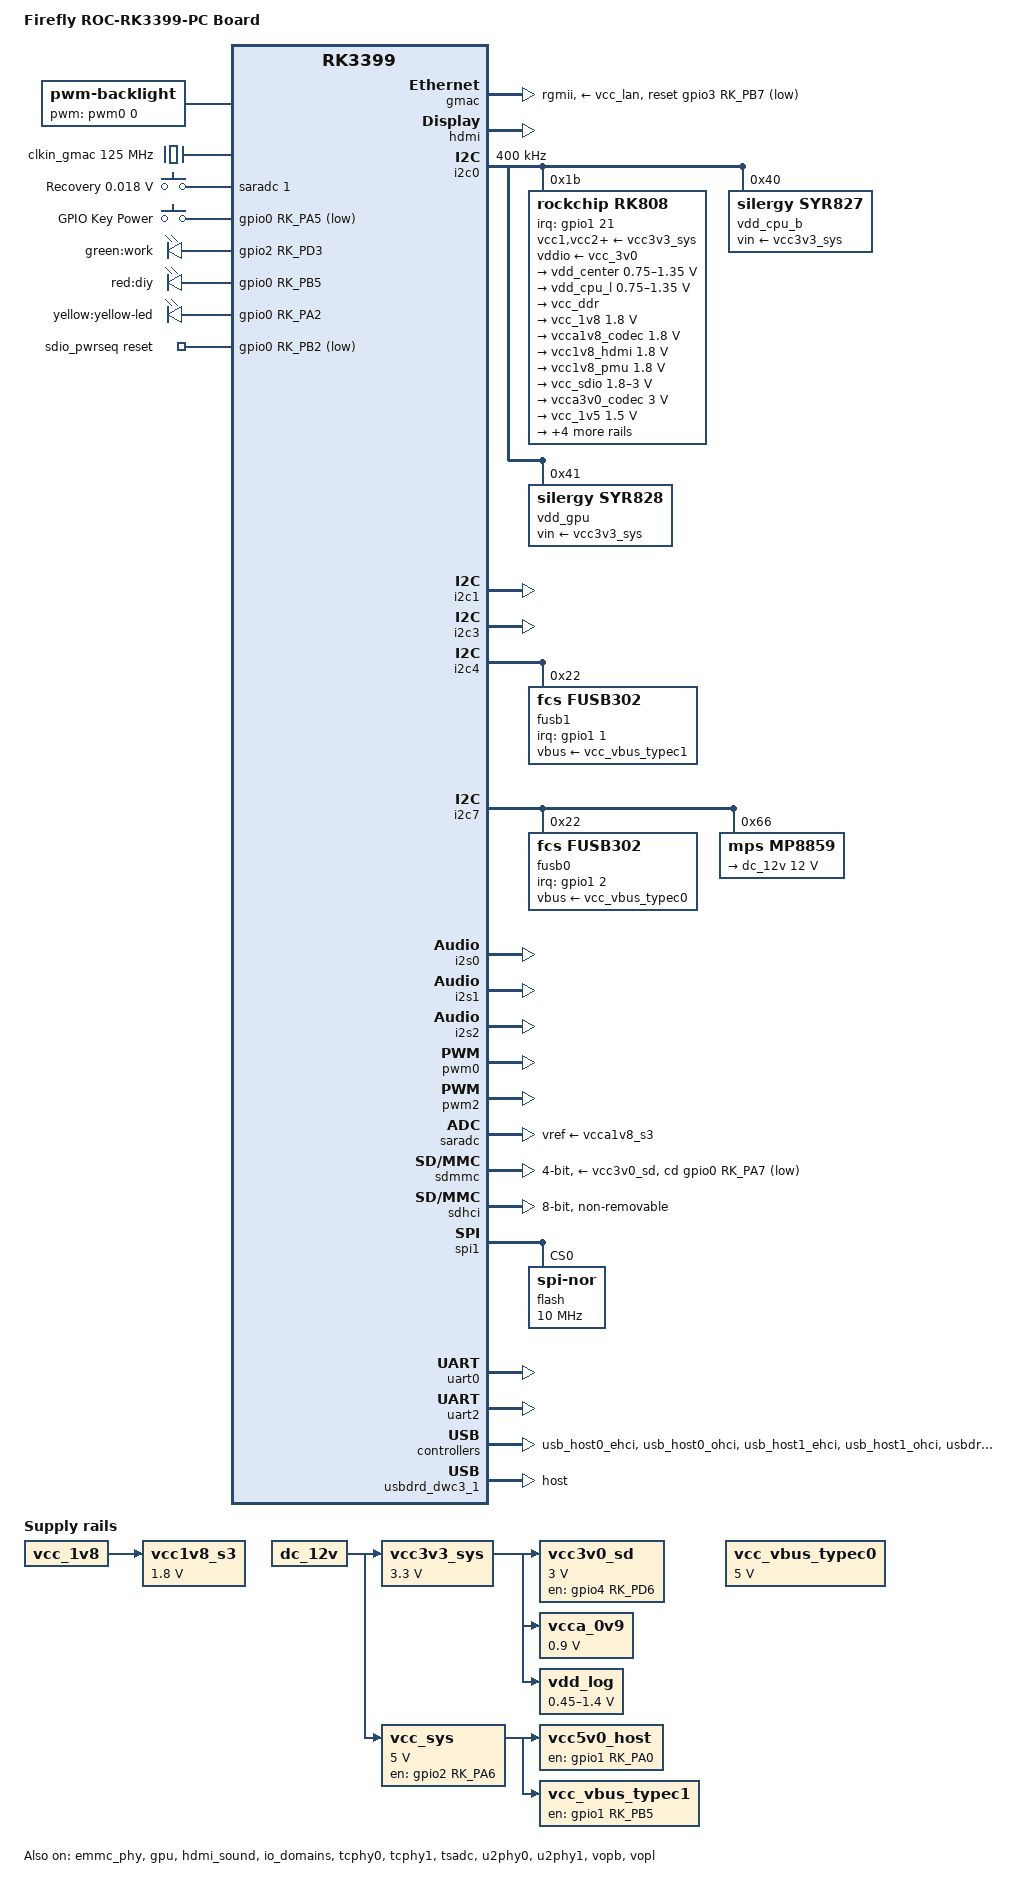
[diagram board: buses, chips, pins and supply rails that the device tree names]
// SPDX-License-Identifier: (GPL-2.0+ OR MIT)
/*
 * Copyright (c) 2017 T-Chip Intelligent Technology Co., Ltd
 */

/dts-v1/;
#include <dt-bindings/input/linux-event-codes.h>
#include <dt-bindings/pwm/pwm.h>
#include "rk3399.dtsi"
#include "rk3399-opp.dtsi"

/ {
	model = "Firefly ROC-RK3399-PC Board";
	compatible = "firefly,roc-rk3399-pc", "rockchip,rk3399";

	chosen {
		stdout-path = "serial2:1500000n8";
	};

	backlight: backlight {
		compatible = "pwm-backlight";
		pwms = <&pwm0 0 25000 0>;
	};

	clkin_gmac: external-gmac-clock {
		compatible = "fixed-clock";
		clock-frequency = <125000000>;
		clock-output-names = "clkin_gmac";
		#clock-cells = <0>;
	};

	adc-keys {
		compatible = "adc-keys";
		io-channels = <&saradc 1>;
		io-channel-names = "buttons";
		keyup-threshold-microvolt = <1500000>;
		poll-interval = <100>;

		recovery {
			label = "Recovery";
			linux,code = <KEY_VENDOR>;
			press-threshold-microvolt = <18000>;
		};
	};

	gpio-keys {
		compatible = "gpio-keys";
		autorepeat;
		pinctrl-names = "default";
		pinctrl-0 = <&pwr_key_l>;

		power {
			debounce-interval = <100>;
			gpios = <&gpio0 RK_PA5 GPIO_ACTIVE_LOW>;
			label = "GPIO Key Power";
			linux,code = <KEY_POWER>;
			wakeup-source;
		};
	};

	leds {
		compatible = "gpio-leds";
		pinctrl-names = "default";
		pinctrl-0 = <&work_led_pin>, <&diy_led_pin>, <&yellow_led_pin>;

		work_led: led-0 {
			label = "green:work";
			gpios = <&gpio2 RK_PD3 GPIO_ACTIVE_HIGH>;
			default-state = "on";
			linux,default-trigger = "heartbeat";
		};

		diy_led: led-1 {
			label = "red:diy";
			gpios = <&gpio0 RK_PB5 GPIO_ACTIVE_HIGH>;
			default-state = "off";
			linux,default-trigger = "mmc1";
		};

		yellow_led: led-2 {
			label = "yellow:yellow-led";
			gpios = <&gpio0 RK_PA2 GPIO_ACTIVE_HIGH>;
			default-state = "off";
			linux,default-trigger = "mmc0";
		};
	};

	sdio_pwrseq: sdio-pwrseq {
		compatible = "mmc-pwrseq-simple";
		clocks = <&rk808 1>;
		clock-names = "ext_clock";
		pinctrl-names = "default";
		pinctrl-0 = <&wifi_enable_h>;

		/*
		 * On the module itself this is one of these (depending
		 * on the actual card populated):
		 * - SDIO_RESET_L_WL_REG_ON
		 * - PDN (power down when low)
		 */
		reset-gpios = <&gpio0 RK_PB2 GPIO_ACTIVE_LOW>;
	};

	vcc_vbus_typec0: vcc-vbus-typec0 {
		compatible = "regulator-fixed";
		regulator-name = "vcc_vbus_typec0";
		regulator-always-on;
		regulator-boot-on;
		regulator-min-microvolt = <5000000>;
		regulator-max-microvolt = <5000000>;
	};

	/* switched by pmic_sleep */
	vcc1v8_s3: vcca1v8_s3: vcc1v8-s3 {
		compatible = "regulator-fixed";
		regulator-name = "vcc1v8_s3";
		regulator-always-on;
		regulator-boot-on;
		regulator-min-microvolt = <1800000>;
		regulator-max-microvolt = <1800000>;
		vin-supply = <&vcc_1v8>;
	};

	vcc3v0_sd: vcc3v0-sd {
		compatible = "regulator-fixed";
		enable-active-high;
		gpio = <&gpio4 RK_PD6 GPIO_ACTIVE_HIGH>;
		pinctrl-names = "default";
		pinctrl-0 = <&vcc3v0_sd_en>;
		regulator-name = "vcc3v0_sd";
		regulator-boot-on;
		regulator-min-microvolt = <3000000>;
		regulator-max-microvolt = <3000000>;
		vin-supply = <&vcc3v3_sys>;
	};

	vcc3v3_sys: vcc3v3-sys {
		compatible = "regulator-fixed";
		regulator-name = "vcc3v3_sys";
		regulator-always-on;
		regulator-boot-on;
		regulator-min-microvolt = <3300000>;
		regulator-max-microvolt = <3300000>;
		vin-supply = <&dc_12v>;
	};

	vcca_0v9: vcca-0v9 {
		compatible = "regulator-fixed";
		regulator-name = "vcca_0v9";
		regulator-always-on;
		regulator-boot-on;
		regulator-min-microvolt = <900000>;
		regulator-max-microvolt = <900000>;
		vin-supply = <&vcc3v3_sys>;
	};

	/* Actually 3 regulators (host0, 1, 2) controlled by the same gpio */
	vcc5v0_host: vcc5v0-host-regulator {
		compatible = "regulator-fixed";
		enable-active-high;
		gpio = <&gpio1 RK_PA0 GPIO_ACTIVE_HIGH>;
		pinctrl-names = "default";
		pinctrl-0 = <&vcc5v0_host_en &hub_rst>;
		regulator-name = "vcc5v0_host";
		vin-supply = <&vcc_sys>;
	};

	vcc_vbus_typec1: vcc-vbus-typec1 {
		compatible = "regulator-fixed";
		enable-active-high;
		gpio = <&gpio1 RK_PB5 GPIO_ACTIVE_HIGH>;
		pinctrl-names = "default";
		pinctrl-0 = <&vcc_vbus_typec1_en>;
		regulator-name = "vcc_vbus_typec1";
		regulator-always-on;
		vin-supply = <&vcc_sys>;
	};

	vcc_sys: vcc-sys {
		compatible = "regulator-fixed";
		enable-active-high;
		gpio = <&gpio2 RK_PA6 GPIO_ACTIVE_HIGH>;
		pinctrl-names = "default";
		pinctrl-0 = <&vcc_sys_en>;
		regulator-name = "vcc_sys";
		regulator-boot-on;
		regulator-min-microvolt = <5000000>;
		regulator-max-microvolt = <5000000>;
		vin-supply = <&dc_12v>;
	};

	vdd_log: vdd-log {
		compatible = "pwm-regulator";
		pwms = <&pwm2 0 25000 1>;
		regulator-name = "vdd_log";
		regulator-always-on;
		regulator-boot-on;
		regulator-min-microvolt = <450000>;
		regulator-max-microvolt = <1400000>;
		pwm-supply = <&vcc3v3_sys>;
	};
};

&cpu_l0 {
	cpu-supply = <&vdd_cpu_l>;
};

&cpu_l1 {
	cpu-supply = <&vdd_cpu_l>;
};

&cpu_l2 {
	cpu-supply = <&vdd_cpu_l>;
};

&cpu_l3 {
	cpu-supply = <&vdd_cpu_l>;
};

&cpu_b0 {
	cpu-supply = <&vdd_cpu_b>;
};

&cpu_b1 {
	cpu-supply = <&vdd_cpu_b>;
};

&emmc_phy {
	status = "okay";
};

&gmac {
	assigned-clocks = <&cru SCLK_RMII_SRC>;
	assigned-clock-parents = <&clkin_gmac>;
	clock_in_out = "input";
	phy-supply = <&vcc_lan>;
	phy-mode = "rgmii";
	pinctrl-names = "default";
	pinctrl-0 = <&rgmii_pins>;
	snps,reset-gpio = <&gpio3 RK_PB7 GPIO_ACTIVE_LOW>;
	snps,reset-active-low;
	snps,reset-delays-us = <0 10000 50000>;
	tx_delay = <0x28>;
	rx_delay = <0x11>;
	status = "okay";
};

&gpu {
	mali-supply = <&vdd_gpu>;
	status = "okay";
};

&hdmi {
	ddc-i2c-bus = <&i2c3>;
	pinctrl-names = "default";
	pinctrl-0 = <&hdmi_cec>;
	status = "okay";
};

&hdmi_sound {
	status = "okay";
};

&i2c0 {
	clock-frequency = <400000>;
	i2c-scl-rising-time-ns = <168>;
	i2c-scl-falling-time-ns = <4>;
	status = "okay";

	rk808: pmic@1b {
		compatible = "rockchip,rk808";
		reg = <0x1b>;
		interrupt-parent = <&gpio1>;
		interrupts = <21 IRQ_TYPE_LEVEL_LOW>;
		#clock-cells = <1>;
		clock-output-names = "xin32k", "rk808-clkout2";
		pinctrl-names = "default";
		pinctrl-0 = <&pmic_int_l>;
		rockchip,system-power-controller;
		wakeup-source;

		vcc1-supply = <&vcc3v3_sys>;
		vcc2-supply = <&vcc3v3_sys>;
		vcc3-supply = <&vcc3v3_sys>;
		vcc4-supply = <&vcc3v3_sys>;
		vcc6-supply = <&vcc3v3_sys>;
		vcc7-supply = <&vcc3v3_sys>;
		vcc8-supply = <&vcc3v3_sys>;
		vcc9-supply = <&vcc3v3_sys>;
		vcc10-supply = <&vcc3v3_sys>;
		vcc11-supply = <&vcc3v3_sys>;
		vcc12-supply = <&vcc3v3_sys>;
		vcc13-supply = <&vcc3v3_sys>;
		vcc14-supply = <&vcc3v3_sys>;
		vddio-supply = <&vcc_3v0>;

		regulators {
			vdd_center: DCDC_REG1 {
				regulator-name = "vdd_center";
				regulator-always-on;
				regulator-boot-on;
				regulator-min-microvolt = <750000>;
				regulator-max-microvolt = <1350000>;
				regulator-ramp-delay = <6001>;
				regulator-state-mem {
					regulator-off-in-suspend;
				};
			};

			vdd_cpu_l: DCDC_REG2 {
				regulator-name = "vdd_cpu_l";
				regulator-always-on;
				regulator-boot-on;
				regulator-min-microvolt = <750000>;
				regulator-max-microvolt = <1350000>;
				regulator-ramp-delay = <6001>;
				regulator-state-mem {
					regulator-off-in-suspend;
				};
			};

			vcc_ddr: DCDC_REG3 {
				regulator-name = "vcc_ddr";
				regulator-always-on;
				regulator-boot-on;
				regulator-state-mem {
					regulator-on-in-suspend;
				};
			};

			vcc_1v8: DCDC_REG4 {
				regulator-name = "vcc_1v8";
				regulator-always-on;
				regulator-boot-on;
				regulator-min-microvolt = <1800000>;
				regulator-max-microvolt = <1800000>;
				regulator-state-mem {
					regulator-on-in-suspend;
					regulator-suspend-microvolt = <1800000>;
				};
			};

			vcca1v8_codec: LDO_REG1 {
				regulator-name = "vcca1v8_codec";
				regulator-always-on;
				regulator-boot-on;
				regulator-min-microvolt = <1800000>;
				regulator-max-microvolt = <1800000>;
				regulator-state-mem {
					regulator-off-in-suspend;
				};
			};

			vcc1v8_hdmi: LDO_REG2 {
				regulator-name = "vcc1v8_hdmi";
				regulator-always-on;
				regulator-boot-on;
				regulator-min-microvolt = <1800000>;
				regulator-max-microvolt = <1800000>;
				regulator-state-mem {
					regulator-off-in-suspend;
				};
			};

			vcc1v8_pmu: LDO_REG3 {
				regulator-name = "vcc1v8_pmu";
				regulator-always-on;
				regulator-boot-on;
				regulator-min-microvolt = <1800000>;
				regulator-max-microvolt = <1800000>;
				regulator-state-mem {
					regulator-on-in-suspend;
					regulator-suspend-microvolt = <1800000>;
				};
			};

			vcc_sdio: LDO_REG4 {
				regulator-name = "vcc_sdio";
				regulator-boot-on;
				regulator-min-microvolt = <1800000>;
				regulator-max-microvolt = <3000000>;
				regulator-state-mem {
					regulator-on-in-suspend;
					regulator-suspend-microvolt = <3000000>;
				};
			};

			vcca3v0_codec: LDO_REG5 {
				regulator-name = "vcca3v0_codec";
				regulator-always-on;
				regulator-boot-on;
				regulator-min-microvolt = <3000000>;
				regulator-max-microvolt = <3000000>;
				regulator-state-mem {
					regulator-off-in-suspend;
				};
			};

			vcc_1v5: LDO_REG6 {
				regulator-name = "vcc_1v5";
				regulator-always-on;
				regulator-boot-on;
				regulator-min-microvolt = <1500000>;
				regulator-max-microvolt = <1500000>;
				regulator-state-mem {
					regulator-on-in-suspend;
					regulator-suspend-microvolt = <1500000>;
				};
			};

			vcca0v9_hdmi: LDO_REG7 {
				regulator-name = "vcca0v9_hdmi";
				regulator-always-on;
				regulator-boot-on;
				regulator-min-microvolt = <900000>;
				regulator-max-microvolt = <900000>;
				regulator-state-mem {
					regulator-off-in-suspend;
				};
			};

			vcc_3v0: LDO_REG8 {
				regulator-name = "vcc_3v0";
				regulator-always-on;
				regulator-boot-on;
				regulator-min-microvolt = <3000000>;
				regulator-max-microvolt = <3000000>;
				regulator-state-mem {
					regulator-on-in-suspend;
					regulator-suspend-microvolt = <3000000>;
				};
			};

			vcc3v3_s3: vcc_lan: SWITCH_REG1 {
				regulator-name = "vcc3v3_s3";
				regulator-always-on;
				regulator-boot-on;
				regulator-state-mem {
					regulator-off-in-suspend;
				};
			};

			vcc3v3_s0: SWITCH_REG2 {
				regulator-name = "vcc3v3_s0";
				regulator-always-on;
				regulator-boot-on;
				regulator-state-mem {
					regulator-off-in-suspend;
				};
			};
		};
	};

	vdd_cpu_b: regulator@40 {
		compatible = "silergy,syr827";
		reg = <0x40>;
		fcs,suspend-voltage-selector = <1>;
		pinctrl-names = "default";
		pinctrl-0 = <&vsel1_pin>;
		regulator-name = "vdd_cpu_b";
		regulator-min-microvolt = <712500>;
		regulator-max-microvolt = <1500000>;
		regulator-ramp-delay = <1000>;
		regulator-always-on;
		regulator-boot-on;
		vin-supply = <&vcc3v3_sys>;

		regulator-state-mem {
			regulator-off-in-suspend;
		};
	};

	vdd_gpu: regulator@41 {
		compatible = "silergy,syr828";
		reg = <0x41>;
		fcs,suspend-voltage-selector = <1>;
		pinctrl-names = "default";
		pinctrl-0 = <&vsel2_pin>;
		regulator-name = "vdd_gpu";
		regulator-min-microvolt = <712500>;
		regulator-max-microvolt = <1500000>;
		regulator-ramp-delay = <1000>;
		vin-supply = <&vcc3v3_sys>;

		regulator-state-mem {
			regulator-off-in-suspend;
		};
	};
};

&i2c1 {
	i2c-scl-rising-time-ns = <300>;
	i2c-scl-falling-time-ns = <15>;
	status = "okay";
};

&i2c3 {
	i2c-scl-rising-time-ns = <450>;
	i2c-scl-falling-time-ns = <15>;
	status = "okay";
};

&i2c4 {
	i2c-scl-rising-time-ns = <600>;
	i2c-scl-falling-time-ns = <20>;
	status = "okay";

	fusb1: usb-typec@22 {
		compatible = "fcs,fusb302";
		reg = <0x22>;
		interrupt-parent = <&gpio1>;
		interrupts = <1 IRQ_TYPE_LEVEL_LOW>;
		pinctrl-names = "default";
		pinctrl-0 = <&fusb1_int>;
		vbus-supply = <&vcc_vbus_typec1>;
		status = "okay";
	};
};

&i2c7 {
	i2c-scl-rising-time-ns = <600>;
	i2c-scl-falling-time-ns = <20>;
	status = "okay";

	fusb0: usb-typec@22 {
		compatible = "fcs,fusb302";
		reg = <0x22>;
		interrupt-parent = <&gpio1>;
		interrupts = <2 IRQ_TYPE_LEVEL_LOW>;
		pinctrl-names = "default";
		pinctrl-0 = <&fusb0_int>;
		vbus-supply = <&vcc_vbus_typec0>;
		status = "okay";
	};

	mp8859: regulator@66 {
		compatible = "mps,mp8859";
		reg = <0x66>;
		dc_12v: mp8859_dcdc {
			regulator-name = "dc_12v";
			regulator-min-microvolt = <12000000>;
			regulator-max-microvolt = <12000000>;
			regulator-always-on;
			regulator-boot-on;
			vin-supply = <&vcc_vbus_typec0>;

			regulator-state-mem {
				regulator-on-in-suspend;
				regulator-suspend-microvolt = <12000000>;
			};
		};
	};
};

&i2s0 {
	rockchip,playback-channels = <8>;
	rockchip,capture-channels = <8>;
	status = "okay";
};

&i2s1 {
	rockchip,playback-channels = <2>;
	rockchip,capture-channels = <2>;
	status = "okay";
};

&i2s2 {
	status = "okay";
};

&io_domains {
	audio-supply = <&vcca1v8_codec>;
	bt656-supply = <&vcc_3v0>;
	gpio1830-supply = <&vcc_3v0>;
	sdmmc-supply = <&vcc_sdio>;
	status = "okay";
};

&pmu_io_domains {
	pmu1830-supply = <&vcc_3v0>;
	status = "okay";
};

&pinctrl {
	buttons {
		pwr_key_l: pwr-key-l {
			rockchip,pins = <0 RK_PA5 RK_FUNC_GPIO &pcfg_pull_up>;
		};
	};

	lcd-panel {
		lcd_panel_reset: lcd-panel-reset {
			rockchip,pins = <4 RK_PD5 RK_FUNC_GPIO &pcfg_pull_up>;
		};
	};

	leds {
		diy_led_pin: diy-led-pin {
			rockchip,pins = <0 RK_PB5 RK_FUNC_GPIO &pcfg_pull_none>;
		};

		work_led_pin: work-led-pin {
			rockchip,pins = <2 RK_PD3 RK_FUNC_GPIO &pcfg_pull_none>;
		};

		yellow_led_pin: yellow-led-pin {
			rockchip,pins = <0 RK_PA2 RK_FUNC_GPIO &pcfg_pull_none>;
		};
	};

	pmic {
		vsel1_pin: vsel1-pin {
			rockchip,pins = <1 RK_PC2 RK_FUNC_GPIO &pcfg_pull_down>;
		};

		vsel2_pin: vsel2-pin {
			rockchip,pins = <1 RK_PB6 RK_FUNC_GPIO &pcfg_pull_down>;
		};
	};

	sdio-pwrseq {
		wifi_enable_h: wifi-enable-h {
			rockchip,pins = <0 RK_PB2 RK_FUNC_GPIO &pcfg_pull_none>;
		};
	};

	sdmmc {
		vcc3v0_sd_en: vcc3v0-sd-en {
			rockchip,pins = <4 RK_PD6 RK_FUNC_GPIO &pcfg_pull_none>;
		};
	};

	pmic {
		pmic_int_l: pmic-int-l {
			rockchip,pins = <1 RK_PC5 RK_FUNC_GPIO &pcfg_pull_up>;
		};
	};

	usb2 {
		vcc5v0_host_en: vcc5v0-host-en {
			rockchip,pins = <1 RK_PA0 RK_FUNC_GPIO &pcfg_pull_none>;
		};

		vcc_sys_en: vcc-sys-en {
			rockchip,pins = <2 RK_PA6 RK_FUNC_GPIO &pcfg_pull_none>;
		};

		hub_rst: hub-rst {
			rockchip,pins = <2 RK_PA4 RK_FUNC_GPIO &pcfg_output_high>;
		};
	};

	usb-typec {
		vcc_vbus_typec1_en: vcc-vbus-typec1-en {
			rockchip,pins = <1 RK_PB5 RK_FUNC_GPIO &pcfg_pull_none>;
		};
	};

	fusb30x {
		fusb0_int: fusb0-int {
			rockchip,pins = <1 RK_PA2 RK_FUNC_GPIO &pcfg_pull_up>;
		};

		fusb1_int: fusb1-int {
			rockchip,pins = <1 RK_PA1 RK_FUNC_GPIO &pcfg_pull_up>;
		};
	};
};

&pwm0 {
	status = "okay";
};

&pwm2 {
	status = "okay";
};

&saradc {
	vref-supply = <&vcca1v8_s3>;
	status = "okay";
};

&sdmmc {
	bus-width = <4>;
	cap-sd-highspeed;
	cd-gpios = <&gpio0 RK_PA7 GPIO_ACTIVE_LOW>;
	disable-wp;
	max-frequency = <150000000>;
	pinctrl-names = "default";
	pinctrl-0 = <&sdmmc_clk &sdmmc_cmd &sdmmc_bus4>;
	sd-uhs-sdr104;
	vmmc-supply = <&vcc3v0_sd>;
	vqmmc-supply = <&vcc_sdio>;
	status = "okay";
};

&sdhci {
	bus-width = <8>;
	non-removable;
	status = "okay";
};

&spi1 {
	status = "okay";

	flash@0 {
		compatible = "jedec,spi-nor";
		reg = <0>;
		spi-max-frequency = <10000000>;
	};
};

&tcphy0 {
	status = "okay";
};

&tcphy1 {
	status = "okay";
};

&tsadc {
	/* tshut mode 0:CRU 1:GPIO */
	rockchip,hw-tshut-mode = <1>;
	/* tshut polarity 0:LOW 1:HIGH */
	rockchip,hw-tshut-polarity = <1>;
	status = "okay";
};

&u2phy0 {
	status = "okay";

	u2phy0_otg: otg-port {
		phy-supply = <&vcc_vbus_typec0>;
		status = "okay";
	};

	u2phy0_host: host-port {
		phy-supply = <&vcc5v0_host>;
		status = "okay";
	};
};

&u2phy1 {
	status = "okay";

	u2phy1_otg: otg-port {
		phy-supply = <&vcc_vbus_typec1>;
		status = "okay";
	};

	u2phy1_host: host-port {
		phy-supply = <&vcc5v0_host>;
		status = "okay";
	};
};

&uart0 {
	pinctrl-names = "default";
	pinctrl-0 = <&uart0_xfer &uart0_cts>;
	status = "okay";
};

&uart2 {
	status = "okay";
};

&usb_host0_ehci {
	status = "okay";
};

&usb_host0_ohci {
	status = "okay";
};

&usb_host1_ehci {
	status = "okay";
};

&usb_host1_ohci {
	status = "okay";
};

&usbdrd3_0 {
	status = "okay";
};

&usbdrd_dwc3_0 {
	status = "okay";
};

&usbdrd3_1 {
	status = "okay";
};

&usbdrd_dwc3_1 {
	status = "okay";
	dr_mode = "host";
};

&vopb {
	status = "okay";
};

&vopb_mmu {
	status = "okay";
};

&vopl {
	status = "okay";
};

&vopl_mmu {
	status = "okay";
};
